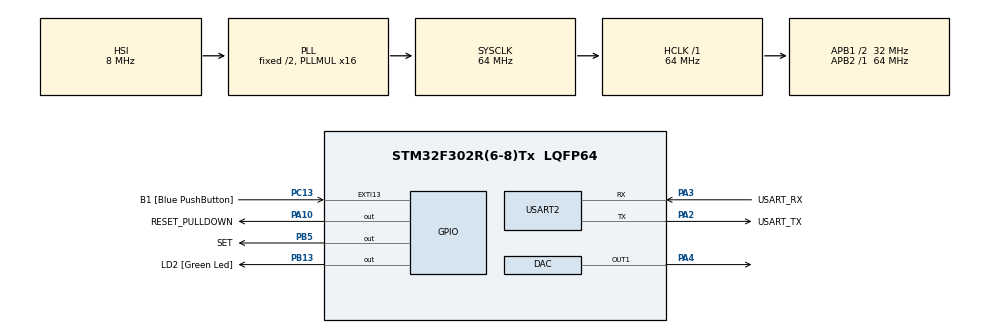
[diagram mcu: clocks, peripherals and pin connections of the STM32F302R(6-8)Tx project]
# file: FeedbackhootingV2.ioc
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Mcu.Family=STM32F3
Mcu.Name=STM32F302R(6-8)Tx
Mcu.Package=LQFP64
NVIC.EXTI15_10_IRQn=true\:0\:0\:false\:false\:true\:true\:true\:true
NVIC.PriorityGroup=NVIC_PRIORITYGROUP_0
PA10.GPIO_Label=RESET_PULLDOWN
PA10.GPIO_ModeDefaultOutputPP=GPIO_MODE_OUTPUT_OD
PA10.GPIO_PuPd=GPIO_NOPULL
PA10.GPIO_Speed=GPIO_SPEED_FREQ_HIGH
PA10.PinState=GPIO_PIN_SET
PA10.Signal=GPIO_Output
PA13.GPIO_Label=TMS
PA13.Mode=Serial_Wire
PA13.Signal=SYS_JTMS-SWDIO
PA14.GPIO_Label=TCK
PA14.Mode=Serial_Wire
PA14.Signal=SYS_JTCK-SWCLK
PA2.GPIO_Label=USART_TX
PA2.GPIO_Mode=GPIO_MODE_AF_PP
PA2.GPIO_PuPd=GPIO_NOPULL
PA2.GPIO_Speed=GPIO_SPEED_FREQ_LOW
PA2.Mode=Asynchronous
PA2.Signal=USART2_TX
PA3.GPIO_Label=USART_RX
PA3.GPIO_Mode=GPIO_MODE_AF_PP
PA3.GPIO_PuPd=GPIO_NOPULL
PA3.GPIO_Speed=GPIO_SPEED_FREQ_LOW
PA3.Mode=Asynchronous
PA3.Signal=USART2_RX
PA4.Signal=COMP_DAC1_group
PB13.GPIO_Label=LD2 [Green Led]
PB13.Signal=GPIO_Output
PB3.GPIO_Label=SWO
PB3.Mode=Trace_Asynchronous_SW
PB3.Signal=SYS_JTDO-TRACESWO
PB5.GPIO_Label=SET
PB5.GPIO_Speed=GPIO_SPEED_FREQ_HIGH
PB5.PinState=GPIO_PIN_SET
PB5.Signal=GPIO_Output
PC13.GPIO_Label=B1 [Blue PushButton]
PC13.GPIO_ModeDefaultEXTI=GPIO_MODE_IT_FALLING
PC13.Signal=GPXTI13
PC14\ -\ OSC32_IN.Mode=LSE-External-Oscillator
PC14\ -\ OSC32_IN.Signal=RCC_OSC32_IN
PC15\ -\ OSC32_OUT.Mode=LSE-External-Oscillator
PC15\ -\ OSC32_OUT.Signal=RCC_OSC32_OUT
PF0-OSC_IN.Mode=HSE-External-Clock-Source
PF0-OSC_IN.Signal=RCC_OSC_IN
PF1-OSC_OUT.Signal=RCC_OSC_OUT
ProjectManager.HeapSize=0x200
ProjectManager.StackSize=0x400
ProjectManager.TargetToolchain=STM32CubeIDE
RCC.AHBFreq_Value=64000000
RCC.APB1CLKDivider=RCC_HCLK_DIV2
RCC.APB1Freq_Value=32000000
RCC.APB1TimFreq_Value=64000000
RCC.APB2Freq_Value=64000000
RCC.APB2TimFreq_Value=64000000
RCC.CortexFreq_Value=64000000
RCC.HCLKFreq_Value=64000000
RCC.HSE_VALUE=8000000
RCC.HSI_VALUE=8000000
RCC.PLLM=8
RCC.PLLMUL=RCC_PLL_MUL16
RCC.PLLN=336
RCC.PLLP=RCC_PLLP_DIV4
RCC.PLLQ=7
RCC.RCC_PLLsource_Clock_Source_FROM_HSE=RCC_HSE_PREDIV_DIV2
RCC.SYSCLKFreq_VALUE=64000000
RCC.SYSCLKSourceVirtual=RCC_SYSCLKSOURCE_PLLCLK
RCC.USBFreq_Value=64000000
SH.COMP_DAC1_group.0=DAC_OUT1,DAC_OUT1
USART2.VirtualMode-Asynchronous=VM_ASYNC
board=NUCLEO-F302R8

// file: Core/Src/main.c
/* USER CODE BEGIN Header */
/**
  ******************************************************************************
  * @file           : main.c
  * @brief          : Main program body
  ******************************************************************************
  * @attention
  *
  * Copyright (c) 2023 STMicroelectronics.
  * All rights reserved.
  *
  * This software is licensed under terms that can be found in the LICENSE file
  * in the root directory of this software component.
  * If no LICENSE file comes with this software, it is provided AS-IS.
  *
  ******************************************************************************
  */
/* USER CODE END Header */
#include "main.h"

DAC_HandleTypeDef hdac;

UART_HandleTypeDef huart2;

void SystemClock_Config(void);
static void MX_GPIO_Init(void);
static void MX_USART2_UART_Init(void);
static void MX_DAC_Init(void);

/* USER CODE BEGIN 0 */
uint8_t send_buffer[1];
uint8_t receive_buffer[sizeof(float)];

void send_OK() {
	send_buffer[0] = OK;
	HAL_UART_Transmit(&huart2, send_buffer, 1, SERIAL_TIMEOUT);
}

void send_FAIL() {
	send_buffer[0] = FAIL;
	HAL_UART_Transmit(&huart2, send_buffer, 1, SERIAL_TIMEOUT);
}

void send_UNKNOWN() {
	send_buffer[0] = UNKNOWN_COMMAND;
	HAL_UART_Transmit(&huart2, send_buffer, 1, SERIAL_TIMEOUT);
}

/* USER CODE END 0 */

int main(void)
{

  /* MCU Configuration--------------------------------------------------------*/

  /* Reset of all peripherals, Initializes the Flash interface and the Systick. */
  HAL_Init();

  /* Configure the system clock */
  SystemClock_Config();

  /* Initialize all configured peripherals */
  MX_GPIO_Init();
  MX_USART2_UART_Init();
  MX_DAC_Init();
  /* USER CODE BEGIN 2 */
  HAL_DAC_Start(&hdac, DAC_CHANNEL_1);
  HAL_DAC_SetValue(&hdac, DAC_CHANNEL_1, DAC_ALIGN_12B_R, 0x0FFF/2);
  HAL_GPIO_WritePin(RESET_PULLDOWN_GPIO_Port, RESET_PULLDOWN_Pin, GPIO_PIN_SET);	//was zero at init for safety

  /* USER CODE END 2 */

  /* Infinite loop */
  while (1)
  {

    /* USER CODE BEGIN 3 */

	  if (HAL_UART_Receive(&huart2, receive_buffer, 1, SERIAL_TIMEOUT) == HAL_OK) {
		switch (receive_buffer[0]) {
		case CHECK:
			send_OK();
			break;

		case PULSE:
			// This creates an approx 600ns pulse, enough to set the latch.
			HAL_Delay(0);	//Wait 1ms - sync to systick, do not remove. Makes single/first pulse consistent when in failsafe
			HAL_GPIO_WritePin(SET_GPIO_Port, SET_Pin, GPIO_PIN_RESET);
			HAL_GPIO_WritePin(SET_GPIO_Port, SET_Pin, GPIO_PIN_SET);
			HAL_Delay(1); 	//2ms fail safe time, if the comparator has not reset the laser output by now...
			HAL_GPIO_WritePin(RESET_PULLDOWN_GPIO_Port, RESET_PULLDOWN_Pin, GPIO_PIN_RESET); // ..we reset the latch
			HAL_GPIO_WritePin(RESET_PULLDOWN_GPIO_Port, RESET_PULLDOWN_Pin, GPIO_PIN_SET);
			send_OK();
			HAL_GPIO_WritePin(RESET_PULLDOWN_GPIO_Port, LD2_Pin, GPIO_PIN_RESET);
			break;

		case SET_DAC:
			uint16_t value;
			if (HAL_UART_Receive(&huart2, (uint8_t *) &value, 2, SERIAL_TIMEOUT) == HAL_OK) {
				HAL_DAC_SetValue(&hdac, DAC_CHANNEL_1, DAC_ALIGN_12B_R, value);
				send_OK();
			} else {
				send_FAIL();
			}
			break;

		case RST:
			HAL_GPIO_WritePin(GPIOA, RESET_PULLDOWN_Pin, GPIO_PIN_RESET);
			HAL_GPIO_WritePin(GPIOA, RESET_PULLDOWN_Pin, GPIO_PIN_SET);
			break;

		default:
			send_UNKNOWN();
			break;
		}
	  }
  }
  /* USER CODE END 3 */
}

void SystemClock_Config(void)
{
  RCC_OscInitTypeDef RCC_OscInitStruct = {0};
  RCC_ClkInitTypeDef RCC_ClkInitStruct = {0};

  /** Initializes the RCC Oscillators according to the specified parameters
  * in the RCC_OscInitTypeDef structure.
  */
  RCC_OscInitStruct.OscillatorType = RCC_OSCILLATORTYPE_HSI;
  RCC_OscInitStruct.HSIState = RCC_HSI_ON;
  RCC_OscInitStruct.HSICalibrationValue = RCC_HSICALIBRATION_DEFAULT;
  RCC_OscInitStruct.PLL.PLLState = RCC_PLL_ON;
  RCC_OscInitStruct.PLL.PLLSource = RCC_PLLSOURCE_HSI;
  RCC_OscInitStruct.PLL.PLLMUL = RCC_PLL_MUL16;
  if (HAL_RCC_OscConfig(&RCC_OscInitStruct) != HAL_OK)
  {
    Error_Handler();
  }

  /** Initializes the CPU, AHB and APB buses clocks
  */
  RCC_ClkInitStruct.ClockType = RCC_CLOCKTYPE_HCLK|RCC_CLOCKTYPE_SYSCLK
                              |RCC_CLOCKTYPE_PCLK1|RCC_CLOCKTYPE_PCLK2;
  RCC_ClkInitStruct.SYSCLKSource = RCC_SYSCLKSOURCE_PLLCLK;
  RCC_ClkInitStruct.AHBCLKDivider = RCC_SYSCLK_DIV1;
  RCC_ClkInitStruct.APB1CLKDivider = RCC_HCLK_DIV2;
  RCC_ClkInitStruct.APB2CLKDivider = RCC_HCLK_DIV1;

  if (HAL_RCC_ClockConfig(&RCC_ClkInitStruct, FLASH_LATENCY_2) != HAL_OK)
  {
    Error_Handler();
  }
}

static void MX_DAC_Init(void)
{

  DAC_ChannelConfTypeDef sConfig = {0};

  /** DAC Initialization
  */
  hdac.Instance = DAC;
  if (HAL_DAC_Init(&hdac) != HAL_OK)
  {
    Error_Handler();
  }

  /** DAC channel OUT1 config
  */
  sConfig.DAC_Trigger = DAC_TRIGGER_NONE;
  sConfig.DAC_OutputBuffer = DAC_OUTPUTBUFFER_ENABLE;
  if (HAL_DAC_ConfigChannel(&hdac, &sConfig, DAC_CHANNEL_1) != HAL_OK)
  {
    Error_Handler();
  }

}

static void MX_USART2_UART_Init(void)
{

  huart2.Instance = USART2;
  huart2.Init.BaudRate = 38400;
  huart2.Init.WordLength = UART_WORDLENGTH_8B;
  huart2.Init.StopBits = UART_STOPBITS_1;
  huart2.Init.Parity = UART_PARITY_NONE;
  huart2.Init.Mode = UART_MODE_TX_RX;
  huart2.Init.HwFlowCtl = UART_HWCONTROL_NONE;
  huart2.Init.OverSampling = UART_OVERSAMPLING_16;
  huart2.Init.OneBitSampling = UART_ONE_BIT_SAMPLE_DISABLE;
  huart2.AdvancedInit.AdvFeatureInit = UART_ADVFEATURE_NO_INIT;
  if (HAL_UART_Init(&huart2) != HAL_OK)
  {
    Error_Handler();
  }

}

static void MX_GPIO_Init(void)
{
  GPIO_InitTypeDef GPIO_InitStruct = {0};

  /* GPIO Ports Clock Enable */
  __HAL_RCC_GPIOC_CLK_ENABLE();
  __HAL_RCC_GPIOF_CLK_ENABLE();
  __HAL_RCC_GPIOA_CLK_ENABLE();
  __HAL_RCC_GPIOB_CLK_ENABLE();

  /*Configure GPIO pin Output Level */
  HAL_GPIO_WritePin(LD2_GPIO_Port, LD2_Pin, GPIO_PIN_RESET);

  /*Configure GPIO pin Output Level */
  HAL_GPIO_WritePin(RESET_PULLDOWN_GPIO_Port, RESET_PULLDOWN_Pin, GPIO_PIN_SET);

  /*Configure GPIO pin Output Level */
  HAL_GPIO_WritePin(SET_GPIO_Port, SET_Pin, GPIO_PIN_SET);

  /*Configure GPIO pin : B1_Pin */
  GPIO_InitStruct.Pin = B1_Pin;
  GPIO_InitStruct.Mode = GPIO_MODE_IT_FALLING;
  GPIO_InitStruct.Pull = GPIO_NOPULL;
  HAL_GPIO_Init(B1_GPIO_Port, &GPIO_InitStruct);

  /*Configure GPIO pin : LD2_Pin */
  GPIO_InitStruct.Pin = LD2_Pin;
  GPIO_InitStruct.Mode = GPIO_MODE_OUTPUT_PP;
  GPIO_InitStruct.Pull = GPIO_NOPULL;
  GPIO_InitStruct.Speed = GPIO_SPEED_FREQ_LOW;
  HAL_GPIO_Init(LD2_GPIO_Port, &GPIO_InitStruct);

  /*Configure GPIO pin : RESET_PULLDOWN_Pin */
  GPIO_InitStruct.Pin = RESET_PULLDOWN_Pin;
  GPIO_InitStruct.Mode = GPIO_MODE_OUTPUT_OD;
  GPIO_InitStruct.Pull = GPIO_NOPULL;
  GPIO_InitStruct.Speed = GPIO_SPEED_FREQ_HIGH;
  HAL_GPIO_Init(RESET_PULLDOWN_GPIO_Port, &GPIO_InitStruct);

  /*Configure GPIO pin : SET_Pin */
  GPIO_InitStruct.Pin = SET_Pin;
  GPIO_InitStruct.Mode = GPIO_MODE_OUTPUT_PP;
  GPIO_InitStruct.Pull = GPIO_NOPULL;
  GPIO_InitStruct.Speed = GPIO_SPEED_FREQ_HIGH;
  HAL_GPIO_Init(SET_GPIO_Port, &GPIO_InitStruct);

  /* EXTI interrupt init*/
  HAL_NVIC_SetPriority(EXTI15_10_IRQn, 0, 0);
  HAL_NVIC_EnableIRQ(EXTI15_10_IRQn);

}

/* USER CODE BEGIN 4 */
void HAL_GPIO_EXTI_Callback(uint16_t GPIO_Pin)
{
  if (GPIO_Pin == B1_Pin)
  {
    /* Toggle LED2 */
    //HAL_GPIO_WritePin(RESET_PULLDOWN_GPIO_Port, RESET_PULLDOWN_Pin, GPIO_PIN_SET);
    //HAL_GPIO_WritePin(RESET_PULLDOWN_GPIO_Port, RESET_PULLDOWN_Pin, GPIO_PIN_RESET);
	//HAL_GPIO_WritePin(SET_GPIO_Port, SET_Pin, GPIO_PIN_RESET);
	//HAL_GPIO_WritePin(SET_GPIO_Port, SET_Pin, GPIO_PIN_SET);
  }
}
/* USER CODE END 4 */

void Error_Handler(void)
{
  __disable_irq();
  while (1)
  {
  }
}
